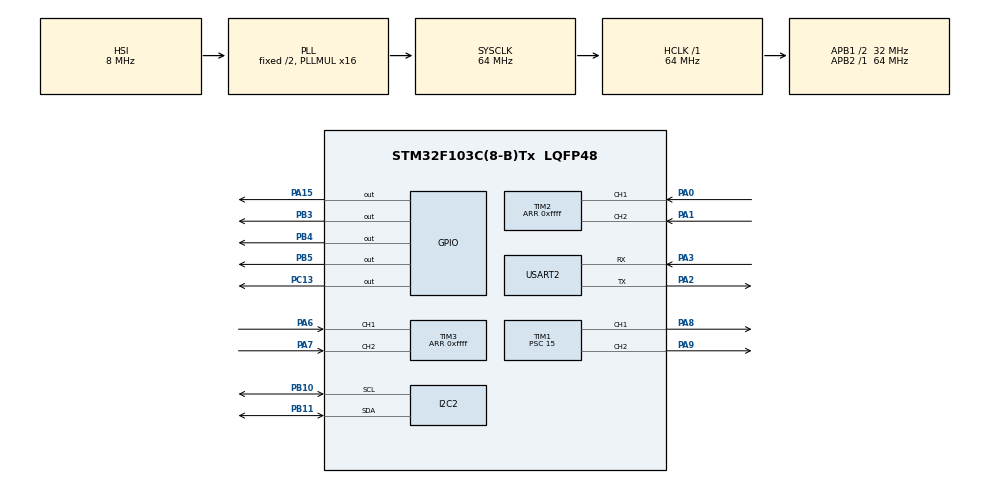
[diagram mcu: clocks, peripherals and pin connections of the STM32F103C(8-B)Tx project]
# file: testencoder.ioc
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I2C2.I2C_Mode=I2C_Fast
Mcu.Family=STM32F1
Mcu.Name=STM32F103C(8-B)Tx
Mcu.Package=LQFP48
NVIC.PriorityGroup=NVIC_PRIORITYGROUP_4
NVIC.TIM4_IRQn=true\:0\:0\:false\:false\:true\:true\:true
NVIC.USART2_IRQn=true\:0\:0\:false\:false\:true\:true\:true
PA0-WKUP.Signal=S_TIM2_CH1_ETR
PA1.GPIO_PuPd=GPIO_PULLUP
PA1.Signal=S_TIM2_CH2
PA13.Mode=Serial_Wire
PA13.Signal=SYS_JTMS-SWDIO
PA14.Mode=Serial_Wire
PA14.Signal=SYS_JTCK-SWCLK
PA15.GPIO_PuPd=GPIO_PULLUP
PA15.GPIO_Speed=GPIO_SPEED_FREQ_LOW
PA15.Signal=GPIO_Output
PA2.Mode=Asynchronous
PA2.Signal=USART2_TX
PA3.Mode=Asynchronous
PA3.Signal=USART2_RX
PA6.Signal=S_TIM3_CH1
PA7.GPIO_PuPd=GPIO_PULLUP
PA7.Signal=S_TIM3_CH2
PA8.Signal=S_TIM1_CH1
PA9.Signal=S_TIM1_CH2
PB10.Mode=I2C
PB10.Signal=I2C2_SCL
PB11.Mode=I2C
PB11.Signal=I2C2_SDA
PB3.GPIO_PuPd=GPIO_PULLUP
PB3.GPIO_Speed=GPIO_SPEED_FREQ_LOW
PB3.PinState=GPIO_PIN_RESET
PB3.Signal=GPIO_Output
PB4.GPIO_PuPd=GPIO_PULLUP
PB4.Signal=GPIO_Output
PB5.GPIO_PuPd=GPIO_PULLUP
PB5.Signal=GPIO_Output
PC13-TAMPER-RTC.GPIO_PuPd=GPIO_PULLUP
PC13-TAMPER-RTC.GPIO_Speed=GPIO_SPEED_FREQ_HIGH
PC13-TAMPER-RTC.Signal=GPIO_Output
ProjectManager.HeapSize=0x200
ProjectManager.StackSize=0x400
ProjectManager.TargetToolchain=STM32CubeIDE
RCC.AHBFreq_Value=64000000
RCC.APB1CLKDivider=RCC_HCLK_DIV2
RCC.APB1Freq_Value=32000000
RCC.APB1TimFreq_Value=64000000
RCC.APB2Freq_Value=64000000
RCC.APB2TimFreq_Value=64000000
RCC.HCLKFreq_Value=64000000
RCC.PLLMUL=RCC_PLL_MUL16
RCC.SYSCLKFreq_VALUE=64000000
RCC.SYSCLKSource=RCC_SYSCLKSOURCE_PLLCLK
RCC.USBFreq_Value=64000000
SH.S_TIM1_CH1.0=TIM1_CH1,PWM Generation1 CH1
SH.S_TIM1_CH2.0=TIM1_CH2,PWM Generation2 CH2
SH.S_TIM2_CH1_ETR.0=TIM2_CH1,Encoder_Interface
SH.S_TIM2_CH2.0=TIM2_CH2,Encoder_Interface
SH.S_TIM3_CH1.0=TIM3_CH1,Encoder_Interface
SH.S_TIM3_CH2.0=TIM3_CH2,Encoder_Interface
TIM1.Channel-PWM\ Generation1\ CH1=TIM_CHANNEL_1
TIM1.Channel-PWM\ Generation2\ CH2=TIM_CHANNEL_2
TIM1.Period=99
TIM1.Prescaler=15
TIM2.EncoderMode=TIM_ENCODERMODE_TI12
TIM2.IC1Filter=15
TIM2.IC1Prescaler=TIM_ICPSC_DIV1
TIM2.IC2Filter=15
TIM2.IC2Prescaler=TIM_ICPSC_DIV1
TIM2.Period=0xffff
TIM3.EncoderMode=TIM_ENCODERMODE_TI12
TIM3.IC1Filter=15
TIM3.IC2Filter=15
TIM3.Period=0xffff
TIM4.Period=9999
TIM4.Prescaler=63
USART2.VirtualMode=VM_ASYNC
VP_TIM1_VS_ClockSourceINT.Mode=Internal
VP_TIM4_VS_ClockSourceINT.Mode=Internal
board=custom

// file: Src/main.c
/* USER CODE BEGIN Header */
/**
  ******************************************************************************
  * @file           : main.c
  * @brief          : Main program body
  ******************************************************************************
  * @attention
  *
  * <h2><center>&copy; Copyright (c) 2019 STMicroelectronics.
  * All rights reserved.</center></h2>
  *
  * This software component is licensed by ST under BSD 3-Clause license,
  * the "License"; You may not use this file except in compliance with the
  * License. You may obtain a copy of the License at:
  *                        opensource.org/licenses/BSD-3-Clause
  *
  ******************************************************************************
  */
/* USER CODE END Header */

#include "main.h"

/* USER CODE BEGIN Includes */
#include "..\app\ReadEncoder.h"
#include "..\app\ReadEncoder.c"
#include "..\app\PWM.h"
#include "..\app\PWM.c"
#include "..\app\uart.h"
#include "..\app\uart.c"

#include "stdio.h"
#include "math.h"
#include "..\app\sd_hal_mpu6050.h"
#include "..\app\sd_hal_mpu6050.c"
/* USER CODE END Includes */

I2C_HandleTypeDef hi2c2;

TIM_HandleTypeDef htim1;
TIM_HandleTypeDef htim2;
TIM_HandleTypeDef htim3;
TIM_HandleTypeDef htim4;

UART_HandleTypeDef huart2;

void SystemClock_Config(void);
static void MX_GPIO_Init(void);
static void MX_TIM2_Init(void);
static void MX_TIM3_Init(void);
static void MX_TIM1_Init(void);
static void MX_I2C2_Init(void);
static void MX_TIM4_Init(void);
static void MX_USART2_UART_Init(void);

/* USER CODE BEGIN 0 */
volatile int16_t duty = 0;
uint8_t rxbuff = 0 ;
uint8_t choose = 60;

uint16_t gx[20];
SD_MPU6050 mpu1;
float sum_gForcex = 0;
float sum_gForcey = 0;
float sum_gForcez = 0;
float gForcex = 0;
float gForcey = 0;
float gForcez = 0;
float bias_gForcex = 0;
float bias_gForcey = 0;
float bias_gForcez = 0;
float sum_rotx = 0;
float sum_roty = 0;
float sum_rotz = 0;
float rotx = 0;
float roty = 0;
float rotz = 0;
float bias_rotx = 0;
float bias_roty = 0;
float bias_rotz = 0;
float roll = 0;
float pitch = 0;
SD_MPU6050_Result result ;

uint16_t need = 0;
/* USER CODE END 0 */

int main(void)
{
  /* USER CODE BEGIN 1 */

	char* mpu_ok = {"MPU WORK FINE\n"};
	char* mpu_not = {"MPU NOT WORKING\n"};
  /* USER CODE END 1 */

  /* MCU Configuration--------------------------------------------------------*/

  /* Reset of all peripherals, Initializes the Flash interface and the Systick. */
  HAL_Init();

  /* Configure the system clock */
  SystemClock_Config();

  /* Initialize all configured peripherals */
  MX_GPIO_Init();
  MX_TIM2_Init();
  MX_TIM3_Init();
  MX_TIM1_Init();
  MX_I2C2_Init();
  MX_TIM4_Init();
  MX_USART2_UART_Init();
  /* USER CODE BEGIN 2 */

  //Init mpu6050
  result = SD_MPU6050_Init(&hi2c2,&mpu1,SD_MPU6050_Device_0,SD_MPU6050_Accelerometer_2G,SD_MPU6050_Gyroscope_2000s );
  	if(result != SD_MPU6050_Result_Ok)
  	  {
  		  HAL_UART_Transmit(&huart2,(uint8_t*)mpu_ok,15,1000);
  	  }
  	  else
  	  {
  		  HAL_UART_Transmit(&huart2,(uint8_t*)mpu_not,17,1000);
  	  }

  // read accelerometer bias
  	for( int i=0;i<500;i++)
  		{
  			SD_MPU6050_ReadAccelerometer(&hi2c2,&mpu1);
  			int16_t a_x = mpu1.Accelerometer_X;
  			int16_t a_y = mpu1.Accelerometer_Y;
  			int16_t a_z = mpu1.Accelerometer_Z;
  			gForcex = (float)a_x/16384;
  			gForcey = (float)a_y/16384;
  			gForcez = (float)a_z/16384;
  			sum_gForcex += gForcex;
  			sum_gForcey += gForcey;
  			sum_gForcez += gForcez;
  		}
  	bias_gForcex = sum_gForcex/500;
  	bias_gForcey = sum_gForcey/500;
  	bias_gForcez = sum_gForcez/500 +1;

  // read gyroscope bias
  	for( int i=0;i<500;i++)
  		{
  			SD_MPU6050_ReadGyroscope(&hi2c2,&mpu1);
  			int16_t g_x = mpu1.Gyroscope_X;
  			int16_t g_y = mpu1.Gyroscope_Y;
  			int16_t g_z = mpu1.Gyroscope_Z;
  			sum_rotx += g_x;
  			sum_roty += g_y;
  			sum_rotz += g_z;
  		}
  	bias_rotx = sum_rotx/500;
  	bias_roty = sum_roty/500;
  	bias_rotz = sum_rotz/500;

  /* USER CODE END 2 */

  /* Infinite loop */
  while (1)
  {

    /* USER CODE BEGIN 3 */
	  HAL_UART_Receive_IT(&huart2, &rxbuff, 1);
	  OutputPWM(duty);

  }
  /* USER CODE END 3 */
}

void SystemClock_Config(void)
{
  RCC_OscInitTypeDef RCC_OscInitStruct = {0};
  RCC_ClkInitTypeDef RCC_ClkInitStruct = {0};

  /** Initializes the CPU, AHB and APB busses clocks
  */
  RCC_OscInitStruct.OscillatorType = RCC_OSCILLATORTYPE_HSI;
  RCC_OscInitStruct.HSIState = RCC_HSI_ON;
  RCC_OscInitStruct.HSICalibrationValue = RCC_HSICALIBRATION_DEFAULT;
  RCC_OscInitStruct.PLL.PLLState = RCC_PLL_ON;
  RCC_OscInitStruct.PLL.PLLSource = RCC_PLLSOURCE_HSI_DIV2;
  RCC_OscInitStruct.PLL.PLLMUL = RCC_PLL_MUL16;
  if (HAL_RCC_OscConfig(&RCC_OscInitStruct) != HAL_OK)
  {
    Error_Handler();
  }
  /** Initializes the CPU, AHB and APB busses clocks
  */
  RCC_ClkInitStruct.ClockType = RCC_CLOCKTYPE_HCLK|RCC_CLOCKTYPE_SYSCLK
                              |RCC_CLOCKTYPE_PCLK1|RCC_CLOCKTYPE_PCLK2;
  RCC_ClkInitStruct.SYSCLKSource = RCC_SYSCLKSOURCE_PLLCLK;
  RCC_ClkInitStruct.AHBCLKDivider = RCC_SYSCLK_DIV1;
  RCC_ClkInitStruct.APB1CLKDivider = RCC_HCLK_DIV2;
  RCC_ClkInitStruct.APB2CLKDivider = RCC_HCLK_DIV1;

  if (HAL_RCC_ClockConfig(&RCC_ClkInitStruct, FLASH_LATENCY_2) != HAL_OK)
  {
    Error_Handler();
  }
}

static void MX_I2C2_Init(void)
{

  hi2c2.Instance = I2C2;
  hi2c2.Init.ClockSpeed = 400000;
  hi2c2.Init.DutyCycle = I2C_DUTYCYCLE_2;
  hi2c2.Init.OwnAddress1 = 0;
  hi2c2.Init.AddressingMode = I2C_ADDRESSINGMODE_7BIT;
  hi2c2.Init.DualAddressMode = I2C_DUALADDRESS_DISABLE;
  hi2c2.Init.OwnAddress2 = 0;
  hi2c2.Init.GeneralCallMode = I2C_GENERALCALL_DISABLE;
  hi2c2.Init.NoStretchMode = I2C_NOSTRETCH_DISABLE;
  if (HAL_I2C_Init(&hi2c2) != HAL_OK)
  {
    Error_Handler();
  }

}

static void MX_TIM1_Init(void)
{

  TIM_ClockConfigTypeDef sClockSourceConfig = {0};
  TIM_MasterConfigTypeDef sMasterConfig = {0};
  TIM_OC_InitTypeDef sConfigOC = {0};
  TIM_BreakDeadTimeConfigTypeDef sBreakDeadTimeConfig = {0};

  htim1.Instance = TIM1;
  htim1.Init.Prescaler = 15;
  htim1.Init.CounterMode = TIM_COUNTERMODE_UP;
  htim1.Init.Period = 99;
  htim1.Init.ClockDivision = TIM_CLOCKDIVISION_DIV1;
  htim1.Init.RepetitionCounter = 0;
  htim1.Init.AutoReloadPreload = TIM_AUTORELOAD_PRELOAD_DISABLE;
  if (HAL_TIM_Base_Init(&htim1) != HAL_OK)
  {
    Error_Handler();
  }
  sClockSourceConfig.ClockSource = TIM_CLOCKSOURCE_INTERNAL;
  if (HAL_TIM_ConfigClockSource(&htim1, &sClockSourceConfig) != HAL_OK)
  {
    Error_Handler();
  }
  if (HAL_TIM_PWM_Init(&htim1) != HAL_OK)
  {
    Error_Handler();
  }
  sMasterConfig.MasterOutputTrigger = TIM_TRGO_RESET;
  sMasterConfig.MasterSlaveMode = TIM_MASTERSLAVEMODE_DISABLE;
  if (HAL_TIMEx_MasterConfigSynchronization(&htim1, &sMasterConfig) != HAL_OK)
  {
    Error_Handler();
  }
  sConfigOC.OCMode = TIM_OCMODE_PWM1;
  sConfigOC.Pulse = 0;
  sConfigOC.OCPolarity = TIM_OCPOLARITY_HIGH;
  sConfigOC.OCNPolarity = TIM_OCNPOLARITY_HIGH;
  sConfigOC.OCFastMode = TIM_OCFAST_DISABLE;
  sConfigOC.OCIdleState = TIM_OCIDLESTATE_RESET;
  sConfigOC.OCNIdleState = TIM_OCNIDLESTATE_RESET;
  if (HAL_TIM_PWM_ConfigChannel(&htim1, &sConfigOC, TIM_CHANNEL_1) != HAL_OK)
  {
    Error_Handler();
  }
  if (HAL_TIM_PWM_ConfigChannel(&htim1, &sConfigOC, TIM_CHANNEL_2) != HAL_OK)
  {
    Error_Handler();
  }
  sBreakDeadTimeConfig.OffStateRunMode = TIM_OSSR_DISABLE;
  sBreakDeadTimeConfig.OffStateIDLEMode = TIM_OSSI_DISABLE;
  sBreakDeadTimeConfig.LockLevel = TIM_LOCKLEVEL_OFF;
  sBreakDeadTimeConfig.DeadTime = 0;
  sBreakDeadTimeConfig.BreakState = TIM_BREAK_DISABLE;
  sBreakDeadTimeConfig.BreakPolarity = TIM_BREAKPOLARITY_HIGH;
  sBreakDeadTimeConfig.AutomaticOutput = TIM_AUTOMATICOUTPUT_DISABLE;
  if (HAL_TIMEx_ConfigBreakDeadTime(&htim1, &sBreakDeadTimeConfig) != HAL_OK)
  {
    Error_Handler();
  }
  HAL_TIM_MspPostInit(&htim1);

}

static void MX_TIM2_Init(void)
{

  TIM_Encoder_InitTypeDef sConfig = {0};
  TIM_MasterConfigTypeDef sMasterConfig = {0};

  htim2.Instance = TIM2;
  htim2.Init.Prescaler = 0;
  htim2.Init.CounterMode = TIM_COUNTERMODE_UP;
  htim2.Init.Period = 0xffff;
  htim2.Init.ClockDivision = TIM_CLOCKDIVISION_DIV1;
  htim2.Init.AutoReloadPreload = TIM_AUTORELOAD_PRELOAD_DISABLE;
  sConfig.EncoderMode = TIM_ENCODERMODE_TI12;
  sConfig.IC1Polarity = TIM_ICPOLARITY_RISING;
  sConfig.IC1Selection = TIM_ICSELECTION_DIRECTTI;
  sConfig.IC1Prescaler = TIM_ICPSC_DIV1;
  sConfig.IC1Filter = 15;
  sConfig.IC2Polarity = TIM_ICPOLARITY_RISING;
  sConfig.IC2Selection = TIM_ICSELECTION_DIRECTTI;
  sConfig.IC2Prescaler = TIM_ICPSC_DIV1;
  sConfig.IC2Filter = 15;
  if (HAL_TIM_Encoder_Init(&htim2, &sConfig) != HAL_OK)
  {
    Error_Handler();
  }
  sMasterConfig.MasterOutputTrigger = TIM_TRGO_RESET;
  sMasterConfig.MasterSlaveMode = TIM_MASTERSLAVEMODE_DISABLE;
  if (HAL_TIMEx_MasterConfigSynchronization(&htim2, &sMasterConfig) != HAL_OK)
  {
    Error_Handler();
  }

}

static void MX_TIM3_Init(void)
{

  TIM_Encoder_InitTypeDef sConfig = {0};
  TIM_MasterConfigTypeDef sMasterConfig = {0};

  htim3.Instance = TIM3;
  htim3.Init.Prescaler = 0;
  htim3.Init.CounterMode = TIM_COUNTERMODE_UP;
  htim3.Init.Period = 0xffff;
  htim3.Init.ClockDivision = TIM_CLOCKDIVISION_DIV1;
  htim3.Init.AutoReloadPreload = TIM_AUTORELOAD_PRELOAD_DISABLE;
  sConfig.EncoderMode = TIM_ENCODERMODE_TI12;
  sConfig.IC1Polarity = TIM_ICPOLARITY_RISING;
  sConfig.IC1Selection = TIM_ICSELECTION_DIRECTTI;
  sConfig.IC1Prescaler = TIM_ICPSC_DIV1;
  sConfig.IC1Filter = 15;
  sConfig.IC2Polarity = TIM_ICPOLARITY_RISING;
  sConfig.IC2Selection = TIM_ICSELECTION_DIRECTTI;
  sConfig.IC2Prescaler = TIM_ICPSC_DIV1;
  sConfig.IC2Filter = 15;
  if (HAL_TIM_Encoder_Init(&htim3, &sConfig) != HAL_OK)
  {
    Error_Handler();
  }
  sMasterConfig.MasterOutputTrigger = TIM_TRGO_RESET;
  sMasterConfig.MasterSlaveMode = TIM_MASTERSLAVEMODE_DISABLE;
  if (HAL_TIMEx_MasterConfigSynchronization(&htim3, &sMasterConfig) != HAL_OK)
  {
    Error_Handler();
  }

}

static void MX_TIM4_Init(void)
{

  TIM_ClockConfigTypeDef sClockSourceConfig = {0};
  TIM_MasterConfigTypeDef sMasterConfig = {0};

  htim4.Instance = TIM4;
  htim4.Init.Prescaler = 63;
  htim4.Init.CounterMode = TIM_COUNTERMODE_UP;
  htim4.Init.Period = 9999;
  htim4.Init.ClockDivision = TIM_CLOCKDIVISION_DIV1;
  htim4.Init.AutoReloadPreload = TIM_AUTORELOAD_PRELOAD_DISABLE;
  if (HAL_TIM_Base_Init(&htim4) != HAL_OK)
  {
    Error_Handler();
  }
  sClockSourceConfig.ClockSource = TIM_CLOCKSOURCE_INTERNAL;
  if (HAL_TIM_ConfigClockSource(&htim4, &sClockSourceConfig) != HAL_OK)
  {
    Error_Handler();
  }
  sMasterConfig.MasterOutputTrigger = TIM_TRGO_RESET;
  sMasterConfig.MasterSlaveMode = TIM_MASTERSLAVEMODE_DISABLE;
  if (HAL_TIMEx_MasterConfigSynchronization(&htim4, &sMasterConfig) != HAL_OK)
  {
    Error_Handler();
  }

}

static void MX_USART2_UART_Init(void)
{

  huart2.Instance = USART2;
  huart2.Init.BaudRate = 115200;
  huart2.Init.WordLength = UART_WORDLENGTH_8B;
  huart2.Init.StopBits = UART_STOPBITS_1;
  huart2.Init.Parity = UART_PARITY_NONE;
  huart2.Init.Mode = UART_MODE_TX_RX;
  huart2.Init.HwFlowCtl = UART_HWCONTROL_NONE;
  huart2.Init.OverSampling = UART_OVERSAMPLING_16;
  if (HAL_UART_Init(&huart2) != HAL_OK)
  {
    Error_Handler();
  }

}

static void MX_GPIO_Init(void)
{
  GPIO_InitTypeDef GPIO_InitStruct = {0};

  /* GPIO Ports Clock Enable */
  __HAL_RCC_GPIOC_CLK_ENABLE();
  __HAL_RCC_GPIOA_CLK_ENABLE();
  __HAL_RCC_GPIOB_CLK_ENABLE();

  /*Configure GPIO pin Output Level */
  HAL_GPIO_WritePin(GPIOC, GPIO_PIN_13, GPIO_PIN_RESET);

  /*Configure GPIO pin Output Level */
  HAL_GPIO_WritePin(GPIOA, GPIO_PIN_15, GPIO_PIN_RESET);

  /*Configure GPIO pin Output Level */
  HAL_GPIO_WritePin(GPIOB, GPIO_PIN_3|GPIO_PIN_4|GPIO_PIN_5, GPIO_PIN_RESET);

  /*Configure GPIO pin : PC13 */
  GPIO_InitStruct.Pin = GPIO_PIN_13;
  GPIO_InitStruct.Mode = GPIO_MODE_OUTPUT_PP;
  GPIO_InitStruct.Pull = GPIO_PULLUP;
  GPIO_InitStruct.Speed = GPIO_SPEED_FREQ_HIGH;
  HAL_GPIO_Init(GPIOC, &GPIO_InitStruct);

  /*Configure GPIO pin : PA15 */
  GPIO_InitStruct.Pin = GPIO_PIN_15;
  GPIO_InitStruct.Mode = GPIO_MODE_OUTPUT_PP;
  GPIO_InitStruct.Pull = GPIO_PULLUP;
  GPIO_InitStruct.Speed = GPIO_SPEED_FREQ_LOW;
  HAL_GPIO_Init(GPIOA, &GPIO_InitStruct);

  /*Configure GPIO pins : PB3 PB4 PB5 */
  GPIO_InitStruct.Pin = GPIO_PIN_3|GPIO_PIN_4|GPIO_PIN_5;
  GPIO_InitStruct.Mode = GPIO_MODE_OUTPUT_PP;
  GPIO_InitStruct.Pull = GPIO_PULLUP;
  GPIO_InitStruct.Speed = GPIO_SPEED_FREQ_LOW;
  HAL_GPIO_Init(GPIOB, &GPIO_InitStruct);

}

void Error_Handler(void)
{
}

/************************ (C) COPYRIGHT STMicroelectronics *****END OF FILE****/
